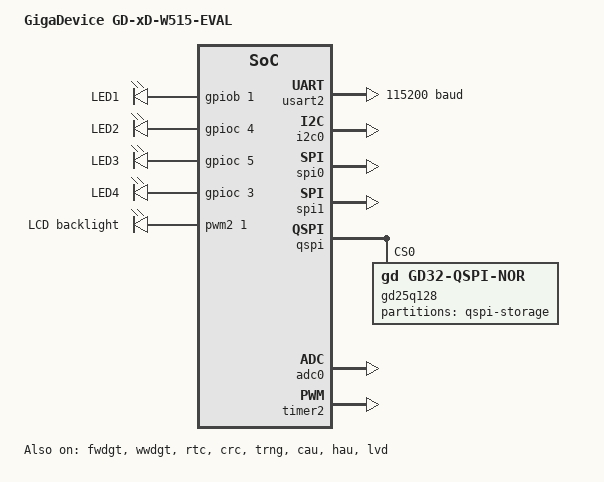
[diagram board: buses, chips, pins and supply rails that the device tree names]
/*
 * Copyright (c) 2026 Jorge Guzman
 *
 * SPDX-License-Identifier: Apache-2.0
 */

/dts-v1/;

#include <gd/gd32w51x/gd32w515xi.dtsi>
#include "gd_xd_w515_eval-pinctrl.dtsi"

/ {
	model = "GigaDevice GD-xD-W515-EVAL";
	compatible = "gd,gd-xd-w515-eval";

	chosen {
		zephyr,sram = &sram0;
		zephyr,flash = &flash0;
		zephyr,code-partition = &slot0_partition;
		zephyr,console = &usart2;
		zephyr,shell-uart = &usart2;
		zephyr,flash-controller = &fmc;
		zephyr,entropy = &trng;
		zephyr,crc = &crc;
	};

	leds {
		compatible = "gpio-leds";

		led1: led1 {
			gpios = <&gpiob 1 GPIO_ACTIVE_HIGH>;
			label = "LED1";
		};

		led2: led2 {
			gpios = <&gpioc 4 GPIO_ACTIVE_HIGH>;
			label = "LED2";
		};

		led3: led3 {
			gpios = <&gpioc 5 GPIO_ACTIVE_HIGH>;
			label = "LED3";
		};

		led4: led4 {
			gpios = <&gpioc 3 GPIO_ACTIVE_HIGH>;
			label = "LED4";
		};
	};

	pwmleds {
		compatible = "pwm-leds";

		/* LCD backlight (transistor Q1 on the LCD module) */
		backlight: backlight {
			pwms = <&pwm2 1 PWM_MSEC(1) PWM_POLARITY_NORMAL>;
			label = "LCD backlight";
		};
	};

	aliases {
		led0 = &led1;
		led1 = &led2;
		led2 = &led3;
		led3 = &led4;
		pwm-led0 = &backlight;
		watchdog0 = &fwdgt;
		rtc = &rtc;
	};
};

&gpioa {
	status = "okay";
};

&gpiob {
	status = "okay";
};

&gpioc {
	status = "okay";
};

/* USART2 on PB10/PB11 is wired to the CH340E on the micro-USB connector */
&usart2 {
	status = "okay";
	current-speed = <115200>;
	pinctrl-0 = <&usart2_default>;
	pinctrl-names = "default";
};

/* GD30BC2416 battery charger: only answers with a battery or a supply on BAT */
&i2c0 {
	status = "okay";
	pinctrl-0 = <&i2c0_default>;
	pinctrl-names = "default";
};

/* ST7735S LCD module connector: DC on PA10, RST on PC6, no MISO */
&spi0 {
	status = "okay";
	pinctrl-0 = <&spi0_default>;
	pinctrl-names = "default";
	cs-gpios = <&gpiob 13 GPIO_ACTIVE_LOW>;
};

/* GSL6157 fingerprint module connector: STD on PB5, IRQ on PA12 */
&spi1 {
	status = "okay";
	pinctrl-0 = <&spi1_default>;
	pinctrl-names = "default";
	cs-gpios = <&gpiob 8 GPIO_ACTIVE_LOW>;
};

/* GD25Q128E (marked GD25T28E) 16 MiB QSPI NOR flash */
&qspi {
	status = "okay";
	pinctrl-0 = <&qspi_default>;
	pinctrl-names = "default";

	gd25q128: qspi-nor-flash@0 {
		compatible = "gd,gd32-qspi-nor";
		reg = <0>;
		size = <DT_SIZE_M(128)>;
		qspi-max-frequency = <DT_FREQ_M(30)>;
		jedec-id = [c8 40 18];
		status = "okay";

		partitions {
			compatible = "fixed-partitions";
			#address-cells = <1>;
			#size-cells = <1>;

			qspi_storage_partition: partition@0 {
				label = "qspi-storage";
				reg = <0x00000000 DT_SIZE_M(16)>;
			};
		};
	};
};

&adc0 {
	status = "okay";
	pinctrl-0 = <&adc0_default>;
	pinctrl-names = "default";
};

&timer2 {
	status = "okay";
	prescaler = <179>;

	pwm2: pwm {
		status = "okay";
		pinctrl-0 = <&pwm2_default>;
		pinctrl-names = "default";
	};
};

&fwdgt {
	status = "okay";
};

&wwdgt {
	status = "okay";
};

/* No LXTAL on the board: the RTC runs on the IRC32K */
&rtc {
	status = "okay";
};

&crc {
	status = "okay";
};

&trng {
	status = "okay";
};

&cau {
	status = "okay";
};

&hau {
	status = "okay";
};

&lvd {
	status = "okay";
};

&dma0 {
	status = "okay";
};

&dma1 {
	status = "okay";
};

&flash0 {
	/*
	 * MCUboot layout: 4 KB pages, 864 KB slots (216 pages, MCUboot needs
	 * BOOT_MAX_IMG_SECTORS=256), swap with scratch. Without MCUboot the
	 * application is linked at the start of the flash.
	 */
	partitions {
		ranges;
		#address-cells = <1>;
		#size-cells = <1>;

		boot_partition: partition@0 {
			compatible = "zephyr,mapped-partition";
			label = "mcuboot";
			reg = <0x00000000 DT_SIZE_K(128)>;
		};

		storage_partition: partition@20000 {
			compatible = "zephyr,mapped-partition";
			label = "storage";
			reg = <0x00020000 DT_SIZE_K(128)>;
		};

		slot0_partition: partition@40000 {
			compatible = "zephyr,mapped-partition";
			label = "image-0";
			reg = <0x00040000 DT_SIZE_K(864)>;
		};

		slot1_partition: partition@118000 {
			compatible = "zephyr,mapped-partition";
			label = "image-1";
			reg = <0x00118000 DT_SIZE_K(864)>;
		};

		scratch_partition: partition@1f0000 {
			compatible = "zephyr,mapped-partition";
			label = "image-scratch";
			reg = <0x001f0000 DT_SIZE_K(64)>;
		};
	};
};
